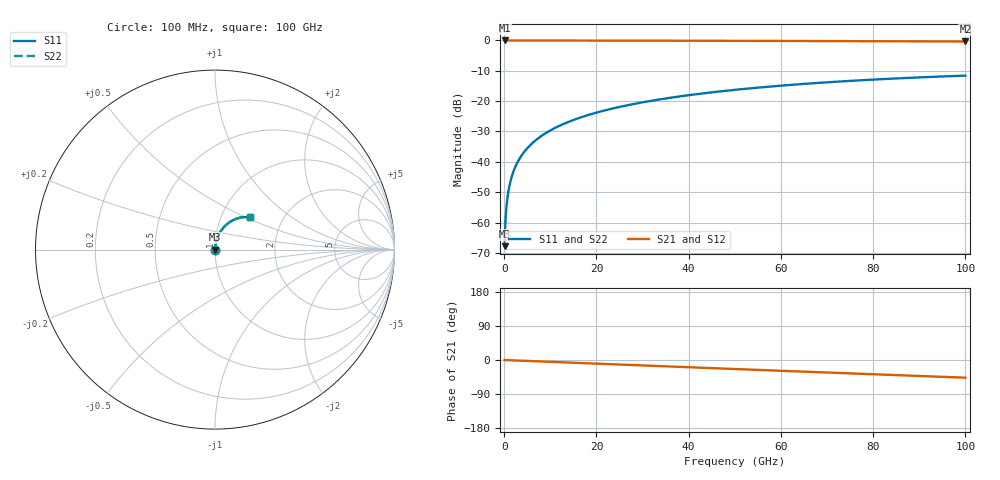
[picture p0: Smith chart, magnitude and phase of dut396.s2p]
! Touchstone file exported from HFSS 2026.1.0
!  File:  C:/ffzhzh/LocalFiles/Ansys_Project_Files/temp_train_TSV_396_1783510768_55944.aedt
!  Generated:  07:40:47 PM Jul  8, 2026
!  Design:  TSV
!  Project:  temp_train_TSV_396_1783510768_55944
! Variables:
!  h_bsmrdl = 2um
!  h_ox = 20um
!  h_rdl = 5um
!  h_sub = 84.8um
!  h_tmrdl = 5um
!  h_tsv = 84.8um
!  h_via = 3um
!  l_bsmrdl = 300um
!  l_sub = 416.56um
!  l_tmrdl = 200um
!  m_sub = 200um
!  pitch = 57.35um
!  r_tsv = 8.28um
!  s_tmrdl = 10um
!  w_bsmrdl = 18um
!  w_sub = 500um
!  w_tmrdl = 12um
!  x_tsv_center1 = 206um
!  x_tsv_center2 = 524um
!  x_tsv_center3 = 736um
!  x_tsv_center4 = 1054um
!  x_tsv_center5 = 1266um
!  x_tsv_center6 = 1584um
# GHz S MA R 50.000000
! Terminal data exported
! Port[1] = TSV1_1_T1
! Port[2] = TSV1_1_T2
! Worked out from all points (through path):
!   1000 points, 100 MHz to 100 GHz, reference 50 ohm
!   highest |S21| = 0.00 dB at 100 MHz (marker M1); lowest = -0.3 dB at 100 GHz (marker M2)
!   group delay of S21, straight-line fit = 1.3 ps
!   lowest |S11| = -67.8 dB at 100 MHz (marker M3), VSWR 1.00, Z = 50 + j0.0368 ohm
!   |S11| at or under -10 dB: start of sweep to end of sweep
!   |S22| runs from -67.8 to -11.6 dB; largest |S21 - S12| = 1e-14
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0.1  0.0004074 64.6  0.9998 -0.1  0.9998 -0.1  0.0004074 64.6
! Gamma 0 0 0 0
! Port Impedance 50 0 50 0
0.3  0.001112 79.4  0.9998 -0.2  0.9998 -0.2  0.001112 79.4
0.7  0.002502 83.3  0.9997 -0.3  0.9997 -0.3  0.002502 83.3
0.8  0.002842 83.6  0.9997 -0.4  0.9997 -0.4  0.002842 83.6
1  0.003519 84.2  0.9997 -0.5  0.9997 -0.5  0.003519 84.2
1.3  0.004529 84.7  0.9996 -0.6  0.9996 -0.6  0.004529 84.7
1.7  0.005866 85.0  0.9996 -0.8  0.9996 -0.8  0.005866 85.0
2.3  0.007857 85.2  0.9995 -1.1  0.9995 -1.1  0.007857 85.2
3  0.01016 85.3  0.9994 -1.5  0.9994 -1.5  0.01016 85.3
3.8  0.01278 85.2  0.9993 -1.9  0.9993 -1.9  0.01278 85.2
4.8  0.01604 85.1  0.9991 -2.3  0.9991 -2.3  0.01604 85.1
6  0.01994 84.8  0.999 -2.9  0.999 -2.9  0.01994 84.8
8.8  0.029 83.8  0.9986 -4.3  0.9986 -4.3  0.029 83.8
12.4  0.04056 82.3  0.998 -6.0  0.998 -6.0  0.04056 82.3
16.8  0.05456 80.4  0.9971 -8.1  0.9971 -8.1  0.05456 80.5
24.2  0.07775 77.2  0.9953 -11.6  0.9953 -11.6  0.07775 77.2
33.4  0.1058 73.0  0.9925 -16.0  0.9925 -16.0  0.1058 73.0
41.2  0.1287 69.4  0.9896 -19.7  0.9896 -19.7  0.1287 69.4
50.1  0.1537 65.3  0.9858 -23.9  0.9858 -23.9  0.1537 65.3
66.7  0.1965 57.7  0.9779 -31.6  0.9779 -31.6  0.1965 57.7
83.4  0.2335 50.2  0.9695 -39.2  0.9695 -39.2  0.2335 50.2
100  0.2633 42.8  0.9615 -46.6  0.9615 -46.6  0.2633 42.8
